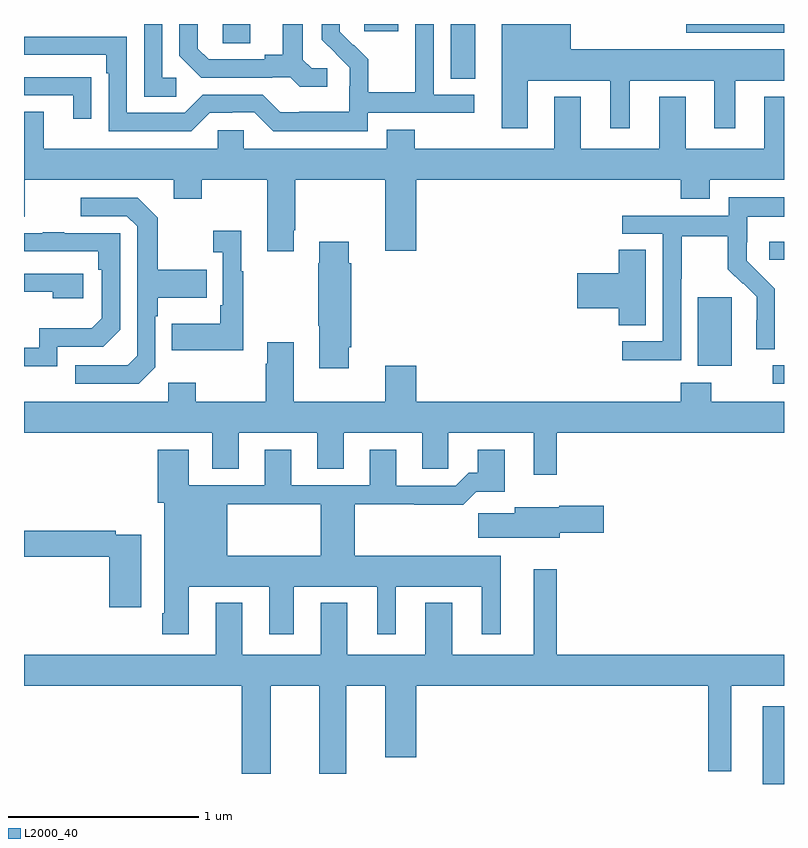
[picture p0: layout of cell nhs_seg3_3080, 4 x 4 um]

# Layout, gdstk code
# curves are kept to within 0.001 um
import gdstk
lib = gdstk.Library(unit=1e-6, precision=1e-09)
def R(c, l, rs):  # rectangles x0, y0, x1, y1
    for r in rs: c.add(gdstk.rectangle(r[:2], r[2:], *l))
def P(c, l, *ps):  # polygons
    for p in ps: c.add(gdstk.Polygon(p, *l))
L2000_40 = (2000, 40)

nhs_seg3_3080 = lib.new_cell('nhs_seg3_3080')
R(nhs_seg3_3080, L2000_40, [(274.889,700.4,275,700.81), (274.941,702.507,275,702.603), (274.547,702.602,274.726,702.963), (274.923,703.158,275,703.255), (273.245,704.113,273.376,704.4), (272.046,704.299,272.191,704.4), (274.485,704.354,275,704.4), (272.792,704.361,272.971,704.4)])
P(nhs_seg3_3080, L2000_40, [(272.808,703.932),(273.37,703.932),(273.37,704.028),(273.156,704.028),(273.156,704.4),(273.06,704.4),(273.06,704.264),(273.058,704.264),(273.058,704.041),(272.813,704.041),(272.813,704.215),(272.736,704.292),(272.733,704.289),(272.663,704.36),(272.663,704.4),(272.568,704.4),(272.568,704.318),(272.714,704.17),(272.714,704.073),(272.712,704.073),(272.712,703.939),(272.449,703.939),(272.449,703.935),(272.349,703.935),(272.256,704.028),(271.941,704.028),(271.845,703.932),(271.542,703.932),(271.542,704.334),(271,704.334),(271,704.238),(271.433,704.238),(271.433,704.141),(271.446,704.141),(271.446,703.836),(271.881,703.836),(271.977,703.932),(272.096,703.932),(272.096,703.935),(272.211,703.935),(272.311,703.835),(272.808,703.835)],
  [(272.596,704.166),(272.514,704.166),(272.467,704.213),(272.467,704.4),(272.363,704.4),(272.363,704.237),(272.267,704.237),(272.267,704.214),(271.972,704.214),(271.915,704.271),(271.915,704.4),(271.818,704.4),(271.818,704.234),(271.934,704.118),(272.306,704.118),(272.306,704.121),(272.4,704.121),(272.452,704.069),(272.596,704.069)],
  [(273.652,704.102),(274.085,704.102),(274.085,703.851),(274.189,703.851),(274.189,704.102),(274.634,704.102),(274.634,703.851),(274.744,703.851),(274.744,704.102),(275,704.102),(275,704.266),(273.877,704.266),(273.877,704.4),(273.515,704.4),(273.515,703.851),(273.652,703.851)],
  [(271.801,704.118),(271.728,704.118),(271.728,704.4),(271.632,704.4),(271.632,704.017),(271.801,704.017)],
  [(271.355,704.12),(271.253,704.12),(271.253,704.121),(271,704.121),(271,704.025),(271.259,704.025),(271.259,703.902),(271.355,703.902)],
  [(272.157,703.842),(272.019,703.842),(272.019,703.744),(271.105,703.744),(271.105,703.939),(271,703.939),(271,703.386),(271.003,703.386),(271.003,703.58),(271.787,703.58),(271.787,703.481),(271.935,703.481),(271.935,703.58),(272.279,703.58),(272.279,703.203),(272.419,703.203),(272.419,703.315),(272.427,703.315),(272.427,703.58),(272.9,703.58),(272.9,703.206),(273.064,703.206),(273.064,703.58),(274.457,703.58),(274.457,703.481),(274.609,703.481),(274.609,703.58),(275,703.58),(275,704.017),(274.895,704.017),(274.895,703.744),(274.483,703.744),(274.483,704.017),(274.343,704.017),(274.343,703.744),(273.931,703.744),(273.931,704.017),(273.791,704.017),(273.791,703.744),(273.057,703.744),(273.057,703.843),(272.909,703.843),(272.909,703.744),(272.157,703.744)],
  [(274.458,703.06),(274.461,703.06),(274.461,703.284),(274.705,703.284),(274.705,703.109),(274.782,703.032),(274.785,703.035),(274.856,702.965),(274.856,702.842),(274.854,702.842),(274.854,702.688),(274.95,702.688),(274.95,703.006),(274.804,703.154),(274.804,703.251),(274.806,703.251),(274.806,703.385),(275,703.385),(275,703.489),(274.71,703.489),(274.71,703.392),(274.149,703.392),(274.149,703.296),(274.362,703.296),(274.362,702.729),(274.149,702.729),(274.149,702.631),(274.458,702.631)],
  [(271.692,702.594),(271.692,702.863),(271.705,702.863),(271.705,702.959),(271.961,702.959),(271.961,703.107),(271.705,703.107),(271.705,703.379),(271.599,703.485),(271.299,703.485),(271.299,703.389),(271.542,703.389),(271.596,703.335),(271.596,702.654),(271.545,702.603),(271.269,702.603),(271.269,702.507),(271.605,702.507)],
  [(272.155,703.099),(272.143,703.099),(272.143,703.312),(271.995,703.312),(271.995,703.199),(272.046,703.199),(272.046,702.919),(272.034,702.919),(272.034,702.823),(271.777,702.823),(271.777,702.683),(272.155,702.683)],
  [(271.176,702.702),(271.416,702.702),(271.506,702.792),(271.506,703.299),(271.211,703.299),(271.211,703.304),(271.099,703.304),(271.099,703.299),(271,703.299),(271,703.203),(271.39,703.203),(271.39,703.106),(271.41,703.106),(271.41,702.852),(271.357,702.799),(271.08,702.799),(271.08,702.696),(271,702.696),(271,702.6),(271.176,702.6)],
  [(272.71,702.7),(272.723,702.7),(272.723,703.142),(272.71,703.142),(272.71,703.255),(272.555,703.255),(272.555,703.142),(272.548,703.142),(272.548,702.811),(272.555,702.811),(272.555,702.588),(272.71,702.588)],
  [(274.273,703.211),(274.13,703.211),(274.13,703.088),(273.912,703.088),(273.912,702.905),(274.13,702.905),(274.13,702.814),(274.273,702.814)],
  [(271.312,703.086),(271,703.086),(271,702.99),(271.151,702.99),(271.151,702.956),(271.312,702.956)],
  [(273.805,702.248),(275,702.248),(275,702.412),(274.617,702.412),(274.617,702.511),(274.457,702.511),(274.457,702.412),(273.064,702.412),(273.064,702.601),(272.9,702.601),(272.9,702.412),(272.419,702.412),(272.419,702.724),(272.279,702.724),(272.279,702.611),(272.272,702.611),(272.272,702.412),(271.905,702.412),(271.905,702.511),(271.758,702.511),(271.758,702.412),(271,702.412),(271,702.248),(271.991,702.248),(271.991,702.058),(272.131,702.058),(272.131,702.248),(272.543,702.248),(272.543,702.058),(272.683,702.058),(272.683,702.248),(273.095,702.248),(273.095,702.058),(273.234,702.058),(273.234,702.248),(273.683,702.248),(273.683,702.027),(273.805,702.027)],
  [(271.727,701.299),(271.727,701.187),(271.867,701.187),(271.867,701.438),(272.291,701.438),(272.291,701.187),(272.419,701.187),(272.419,701.438),(272.858,701.438),(272.858,701.187),(272.956,701.187),(272.956,701.438),(273.41,701.438),(273.41,701.187),(273.508,701.187),(273.508,701.602),(272.741,701.602),(272.741,701.872),(273.055,701.872),(273.055,701.87),(273.311,701.87),(273.38,701.939),(273.529,701.939),(273.529,702.16),(273.389,702.16),(273.389,702.037),(273.34,702.037),(273.273,701.97),(272.959,701.97),(272.959,702.16),(272.819,702.16),(272.819,701.973),(272.407,701.973),(272.407,702.16),(272.267,702.16),(272.267,701.973),(271.867,701.973),(271.867,702.16),(271.703,702.16),(271.703,701.88),(271.739,701.88),(271.739,701.602),(272.071,701.602),(272.071,701.872),(272.563,701.872),(272.563,701.602),(271.739,701.602),(271.739,701.299)],
  [(273.82,701.723),(274.051,701.723),(274.051,701.865),(273.816,701.865),(273.816,701.857),(273.584,701.857),(273.584,701.825),(273.39,701.825),(273.39,701.696),(273.82,701.696)],
  [(271.618,701.712),(271.484,701.712),(271.484,701.732),(271,701.732),(271,701.596),(271.448,701.596),(271.448,701.331),(271.618,701.331)],
  [(272.299,700.916),(272.555,700.916),(272.555,700.455),(272.695,700.455),(272.695,700.916),(272.9,700.916),(272.9,700.542),(273.064,700.542),(273.064,700.916),(274.602,700.916),(274.602,700.467),(274.723,700.467),(274.723,700.916),(275,700.916),(275,701.08),(273.805,701.08),(273.805,701.53),(273.683,701.53),(273.683,701.08),(273.253,701.08),(273.253,701.353),(273.113,701.353),(273.113,701.08),(272.701,701.08),(272.701,701.353),(272.561,701.353),(272.561,701.08),(272.149,701.08),(272.149,701.353),(272.009,701.353),(272.009,701.08),(271,701.08),(271,700.916),(272.147,700.916),(272.147,700.455),(272.299,700.455)])

lib.write_gds('nhs_seg3_3080.gds')
